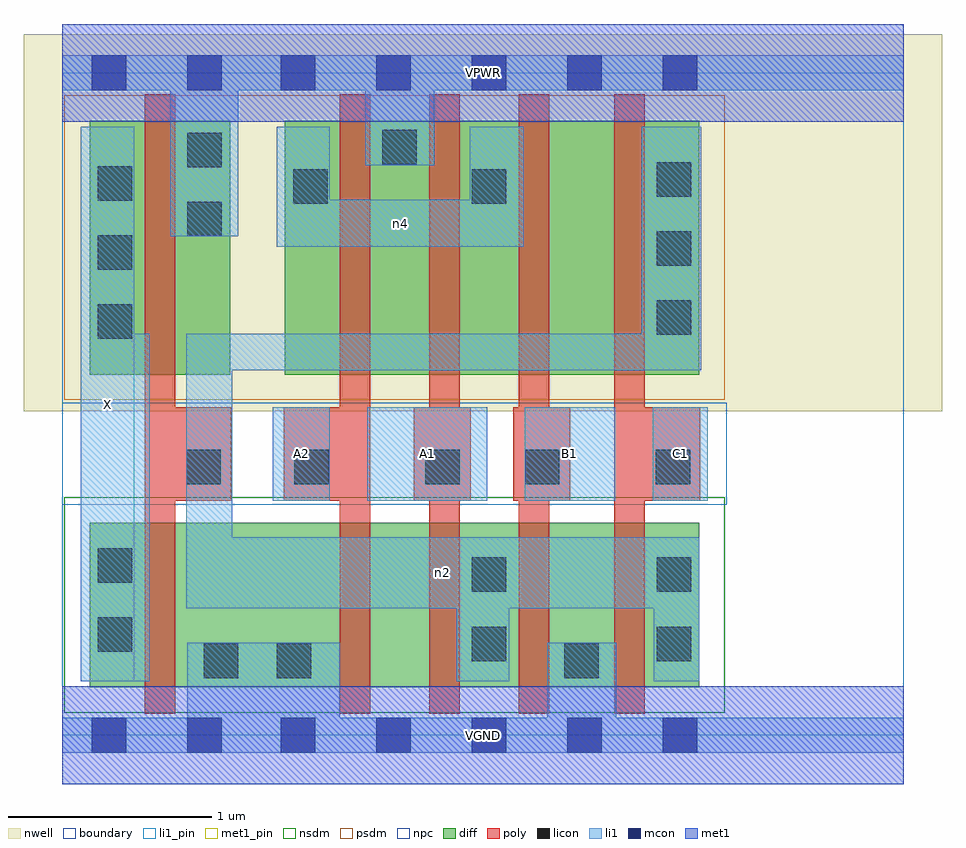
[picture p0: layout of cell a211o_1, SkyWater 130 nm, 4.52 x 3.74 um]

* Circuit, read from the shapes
.subckt a211o_1 A1 A2 B1 C1 VGND VPWR X n2 n4
XM1 VGND n2 X VSUBS sky130_fd_pr__nfet_01v8 w=0.81 l=0.15
XM2 n1 A2 VGND VSUBS sky130_fd_pr__nfet_01v8 w=0.81 l=0.15
XM3 n2 A1 n1 VSUBS sky130_fd_pr__nfet_01v8 w=0.81 l=0.15
XM4 VGND B1 n2 VSUBS sky130_fd_pr__nfet_01v8 w=0.81 l=0.15
XM5 n2 C1 VGND VSUBS sky130_fd_pr__nfet_01v8 w=0.81 l=0.15
XM6 VPWR n2 X n3 sky130_fd_pr__pfet_01v8 w=1.25 l=0.15
XM7 VPWR A2 n4 n3 sky130_fd_pr__pfet_01v8 w=1.25 l=0.15
XM8 n4 A1 VPWR n3 sky130_fd_pr__pfet_01v8 w=1.25 l=0.15
XM9 n5 B1 n4 n3 sky130_fd_pr__pfet_01v8 w=1.25 l=0.15
XM10 n2 C1 n5 n3 sky130_fd_pr__pfet_01v8 w=1.25 l=0.15
.ends

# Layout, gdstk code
import gdstk
lib = gdstk.Library(unit=1e-6, precision=1e-09)
def R(c, l, rs):  # rectangles x0, y0, x1, y1
    for r in rs: c.add(gdstk.rectangle(r[:2], r[2:], *l))
def A(c, l, x, y, w, h, nx, ny, dx, dy):  # array of equal rectangles
    R(c, l, [(x+i*dx, y+j*dy, x+i*dx+w, y+j*dy+h) for i in range(nx) for j in range(ny)])
nwell = (64, 20)
diff = (65, 20)
poly = (66, 20)
licon = (66, 44)
li1_pin = (67, 16)
li1 = (67, 20)
mcon = (67, 44)
met1_pin = (68, 16)
met1 = (68, 20)
nsdm = (93, 44)
psdm = (94, 20)
npc = (95, 20)
boundary = (235, 4)

a211o_1 = lib.new_cell('a211o_1')
R(a211o_1, nwell, [(-0.19,1.595,4.33,3.45), (0,1.595,4.14,3.45)])
R(a211o_1, diff, [(0.135,0.235,3.135,1.045), (0.135,1.775,0.825,3.025), (1.095,1.775,3.135,3.025)])
A(a211o_1, poly, 1.365, 0.105, 0.15, 3.05, 3, 1, 0.44, 0)
R(a211o_1, poly, [(0.405,0.105,0.555,3.155), (2.715,0.105,2.865,3.155), (0.405,1.155,0.83,1.615), (1.09,1.155,1.515,1.615), (1.73,1.155,2.01,1.615), (2.22,1.155,2.5,1.615), (2.715,1.155,3.14,1.615)])
A(a211o_1, licon, 0.175, 1.95, 0.17, 0.17, 1, 3, 0, 0.34)
A(a211o_1, licon, 2.925, 1.97, 0.17, 0.17, 1, 3, 0, 0.34)
R(a211o_1, licon, [(0.695,0.28,0.865,0.45), (1.055,0.28,1.225,0.45), (2.47,0.28,2.64,0.45), (2.015,0.365,2.185,0.535), (2.925,0.365,3.095,0.535), (0.175,0.41,0.345,0.58), (2.015,0.705,2.185,0.875), (2.925,0.705,3.095,0.875), (0.175,0.75,0.345,0.92), (0.61,1.235,0.78,1.405), (1.14,1.235,1.31,1.405), (1.785,1.235,1.955,1.405), (2.275,1.235,2.445,1.405), (2.92,1.235,3.09,1.405), (0.615,2.455,0.785,2.625), (1.135,2.615,1.305,2.785), (2.015,2.615,2.185,2.785), (0.615,2.795,0.785,2.965), (1.575,2.81,1.745,2.98)])
R(a211o_1, li1_pin, [(0.09,0.265,0.355,2.995), (1.035,1.155,1.315,1.615), (1.5,1.155,2.09,1.615), (2.275,1.155,2.72,1.615), (2.905,1.155,3.175,1.615)])
R(a211o_1, li1, [(0,-0.085,4.14,0.085), (0.615,-0.085,1.365,0.455), (2.385,-0.085,2.725,0.455), (0.09,0.265,0.355,2.995), (0.09,0.265,0.43,1.975), (1.94,0.265,2.2,0.975), (2.91,0.265,3.135,0.975), (0.61,0.625,3.135,0.975), (0.61,0.625,0.835,1.975), (1.035,1.155,1.315,1.615), (1.5,1.155,2.09,1.615), (2.275,1.155,2.72,1.615), (2.905,1.155,3.175,1.615), (0.61,1.795,3.145,1.975), (2.85,1.795,3.145,2.995), (1.055,2.405,2.27,2.635), (1.055,2.405,1.315,2.995), (2.005,2.405,2.27,2.995), (0.53,2.455,0.865,3.345), (1.49,2.805,1.83,3.345), (0,3.175,4.14,3.345)])
A(a211o_1, mcon, 1.075, -0.085, 0.17, 0.17, 5, 2, 0.47, 3.26)
R(a211o_1, mcon, [(0.145,-0.085,0.315,0.085), (0.615,-0.085,0.785,0.085), (0.145,3.175,0.315,3.345), (0.615,3.175,0.785,3.345)])
R(a211o_1, met1_pin, [(0,-0.24,4.14,0.24), (0,3.02,4.14,3.5)])
R(a211o_1, met1, [(0,-0.24,4.14,0.24), (0,3.02,4.14,3.5)])
R(a211o_1, nsdm, [(0.01,0.11,3.26,1.17)])
R(a211o_1, psdm, [(0.01,1.65,3.26,3.15)])
R(a211o_1, npc, [(0,1.135,3.27,1.635)])
R(a211o_1, boundary, [(0,0,4.14,3.26)])
a211o_1.add(gdstk.Label('A1', (1.795,1.385), layer=67, texttype=5))
a211o_1.add(gdstk.Label('A2', (1.175,1.385), layer=67, texttype=5))
a211o_1.add(gdstk.Label('B1', (2.497,1.385), layer=67, texttype=5))
a211o_1.add(gdstk.Label('C1', (3.04,1.385), layer=67, texttype=5))
a211o_1.add(gdstk.Label('X', (0.222,1.63), layer=67, texttype=5))
a211o_1.add(gdstk.Label('n4', (1.662,2.52), layer=67, texttype=5))
a211o_1.add(gdstk.Label('n2', (1.872,0.8), layer=67, texttype=5))
a211o_1.add(gdstk.Label('VPWR', (2.07,3.26), layer=68, texttype=5))
a211o_1.add(gdstk.Label('VGND', (2.07,0), layer=68, texttype=5))
a211o_1.add(gdstk.Label('A1', (1.795,1.385), layer=67, texttype=16))
a211o_1.add(gdstk.Label('A2', (1.175,1.385), layer=67, texttype=16))
a211o_1.add(gdstk.Label('B1', (2.497,1.385), layer=67, texttype=16))
a211o_1.add(gdstk.Label('C1', (3.04,1.385), layer=67, texttype=16))
a211o_1.add(gdstk.Label('X', (0.222,1.63), layer=67, texttype=16))
a211o_1.add(gdstk.Label('VPWR', (2.07,3.26), layer=68, texttype=16))
a211o_1.add(gdstk.Label('VGND', (2.07,0), layer=68, texttype=16))

lib.write_gds('a211o_1.gds')
